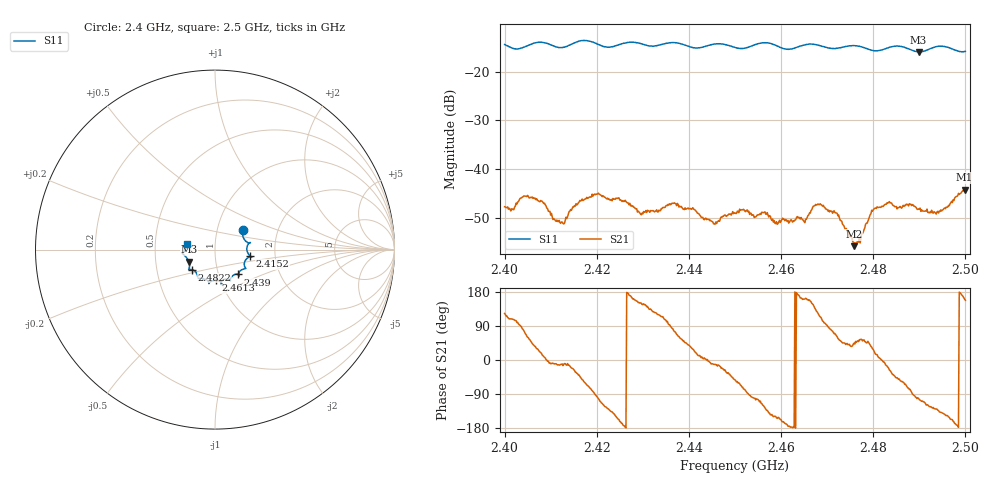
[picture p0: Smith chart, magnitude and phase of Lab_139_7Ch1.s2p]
# Hz S RI R 50
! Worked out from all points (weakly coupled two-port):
!   601 points, 2.4 GHz to 2.5 GHz, reference 50 ohm
!   highest |S21| = -44.20 dB at 2.4998 GHz (marker M1); lowest = -55.8 dB at 2.4758 GHz (marker M2)
!   lowest |S11| = -15.9 dB at 2.4898 GHz (marker M3), VSWR 1.38, Z = 37 - j5.07 ohm
!   |S11| at or under -10 dB: start of sweep to end of sweep
!   S12 and S22 are empty: the file has one direction only
!   S11 on the Smith chart (normalised r, x): 2.4 GHz: 1.33, +0.30; 2.4152 GHz: 1.48, -0.11; 2.439 GHz: 1.24, -0.36; 2.4613 GHz: 0.96, -0.34; 2.4822 GHz: 0.76, -0.17; 2.5 GHz: 0.72, +0.05
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2.4e9  0.1556 0.1099  -0.00223 0.00345  0 0  0 0
2.406167e9  0.192 0.0365  0.00375 0.0033  0 0  0 0
2.4125e9  0.1775 -0.00127  0.00281 -0.000509  0 0  0 0
2.415167e9  0.195 -0.0359  0.00376 -0.00192  0 0  0 0
2.416667e9  0.2047 -0.0421  0.00315 -0.00357  0 0  0 0
2.420333e9  0.1861 -0.0437  -0.00115 -0.00554  0 0  0 0
2.433333e9  0.1322 -0.1323  -0.00181 0.00315  0 0  0 0
2.439e9  0.1281 -0.1387  0.00258 0.00284  0 0  0 0
2.4455e9  0.085 -0.1727  0.00268 -0.000557  0 0  0 0
2.45e9  0.0685 -0.1641  0.00217 -0.0028  0 0  0 0
2.461333e9  0.00691 -0.1703  -0.00285 -0.000453  0 0  0 0
2.465167e9  -0.0331 -0.1866  -0.00266 0.000923  0 0  0 0
2.466667e9  -0.0336 -0.1896  -0.00331 0.00194  0 0  0 0
2.472e9  -0.0656 -0.161  0.00153 0.0032  0 0  0 0
2.475833e9  -0.0936 -0.1604  0.00115 0.00113  0 0  0 0
2.479833e9  -0.1049 -0.1284  0.00321 0.00183  0 0  0 0
2.482167e9  -0.1275 -0.1117  0.00412 -0.000364  0 0  0 0
2.483333e9  -0.1388 -0.1103  0.00423 -0.00167  0 0  0 0
2.489833e9  -0.1454 -0.0667  -0.000747 -0.00383  0 0  0 0
2.494e9  -0.181 -0.0237  -0.00249 -0.00272  0 0  0 0
2.499833e9  -0.1585 0.0305  -0.0058 0.00209  0 0  0 0
2.5e9  -0.1587 0.0334  -0.00567 0.00234  0 0  0 0
